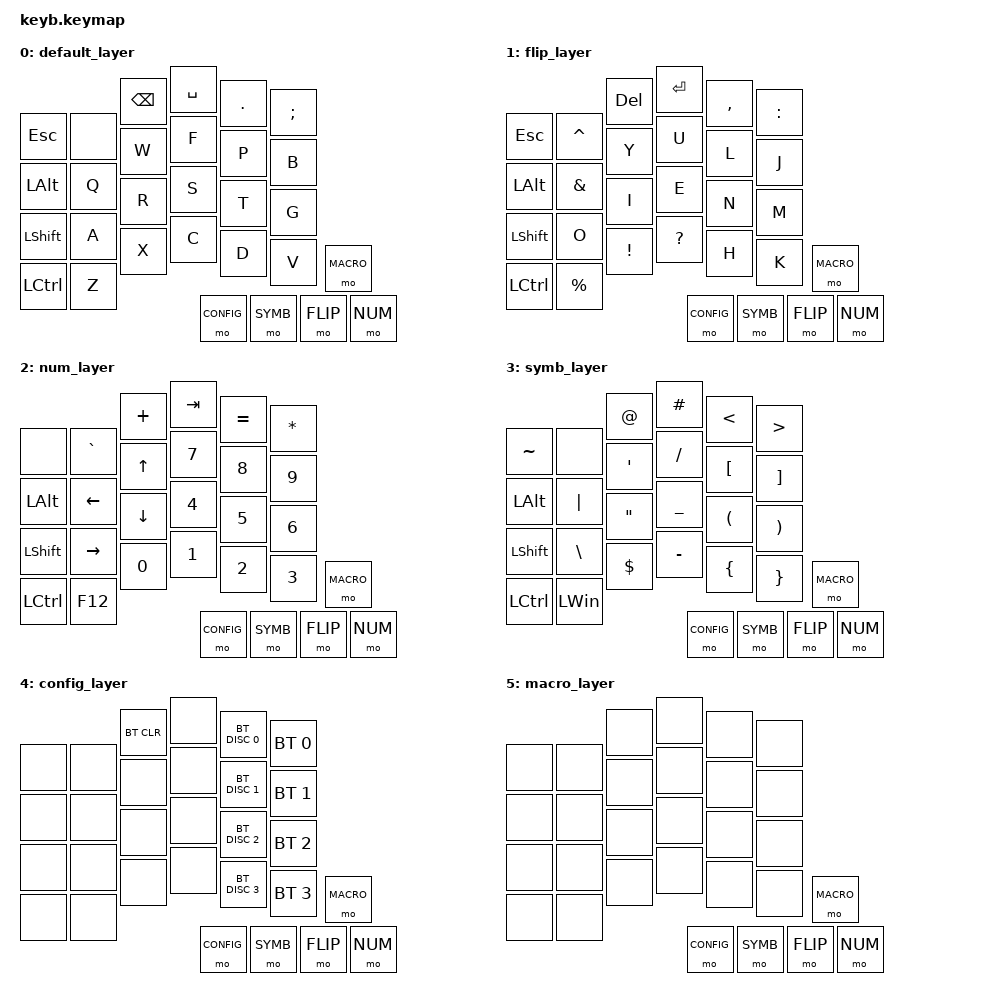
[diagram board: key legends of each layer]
/*
 * Copyright (c) 2021 Nick Winans
 *
 * SPDX-License-Identifier: MIT
 */

#include <behaviors.dtsi>
#include <dt-bindings/zmk/keys.h>
#include <dt-bindings/zmk/bt.h>

#include <dt-bindings/zmk/outputs.h>

#define DEFAULT   0 
#define FLIP      1 
#define NUM       2
#define SYMB      3
#define CONFIG    4
#define MACRO     5


/ {
    keymap {
        compatible = "zmk,keymap";

        default_layer {
    bindings = <
    &kp ESC    &none    &kp BSPC   &kp SPACE    &kp PERIOD    &kp SEMICOLON
    &kp LALT   &kp Q    &kp W      &kp F        &kp P         &kp B 
    &kp LSHFT  &kp A    &kp R      &kp S        &kp T         &kp G  
    &kp LCTRL  &kp Z    &kp X      &kp C        &kp D         &kp V  
    
    &mo CONFIG  &mo SYMB &mo FLIP  &mo MACRO  &mo NUM  
    >;
        };

        flip_layer {
    bindings = <
    &kp ESC    &kp CARET       &kp DEL         &kp ENTER       &kp COMMA    &kp COLON
    &kp LALT   &kp AMPERSAND   &kp Y           &kp U           &kp L        &kp J 
    &kp LSHFT  &kp O           &kp I           &kp E           &kp N        &kp M  
    &kp LCTRL  &kp PRCNT       &kp EXCLAMATION &kp QUESTION    &kp H        &kp K  
    
    &mo CONFIG  &mo SYMB &mo FLIP  &mo MACRO  &mo NUM                         
            >;

        };

        num_layer {
    bindings = <
    &none      &kp GRAVE     &kp PLUS         &kp TAB       &kp EQUAL     &kp ASTERISK
    &kp LALT   &kp LEFT      &kp UP           &kp N7        &kp N8        &kp N9 
    &kp LSHFT  &kp RIGHT     &kp DOWN         &kp N4        &kp N5        &kp N6  
    &kp LCTRL  &kp F12       &kp N0           &kp N1        &kp N2        &kp N3  
    
    &mo CONFIG  &mo SYMB &mo FLIP  &mo MACRO  &mo NUM                         
            >;

        };

        symb_layer {
    bindings = <
    &kp TILDE    &none         &kp AT            &kp HASH       &kp LESS_THAN        &kp GREATER_THAN
    &kp LALT     &kp PIPE      &kp SINGLE_QUOTE  &kp SLASH      &kp LEFT_BRACKET     &kp RIGHT_BRACKET 
    &kp LSHFT    &kp BACKSLASH &kp DOUBLE_QUOTES &kp UNDERSCORE &kp LEFT_PARENTHESIS &kp RIGHT_PARENTHESIS  
    &kp LCTRL    &kp LEFT_WIN  &kp DOLLAR        &kp MINUS      &kp LEFT_BRACE       &kp RIGHT_BRACE  
    
    &mo CONFIG  &mo SYMB &mo FLIP  &mo MACRO  &mo NUM                         
            >;

        };

        config_layer {
    bindings = <
    &none    &none     &bt BT_CLR    &none    &bt BT_DISC 0    &bt BT_SEL 0
    &none    &none     &none         &none    &bt BT_DISC 1    &bt BT_SEL 1 
    &none    &none     &none         &none    &bt BT_DISC 2    &bt BT_SEL 2  
    &none    &none     &none         &none    &bt BT_DISC 3    &bt BT_SEL 3
    
    &mo CONFIG  &mo SYMB &mo FLIP  &mo MACRO  &mo NUM                         
            >;

        };

        macro_layer {
    bindings = <
    &none    &none     &none     &none      &none    &none
    &none    &none     &none     &none      &none    &none 
    &none    &none     &none     &none      &none    &none  
    &none    &none     &none     &none      &none    &none
    
    &mo CONFIG  &mo SYMB &mo FLIP  &mo MACRO  &mo NUM                         
            >;

        };
    };
};
